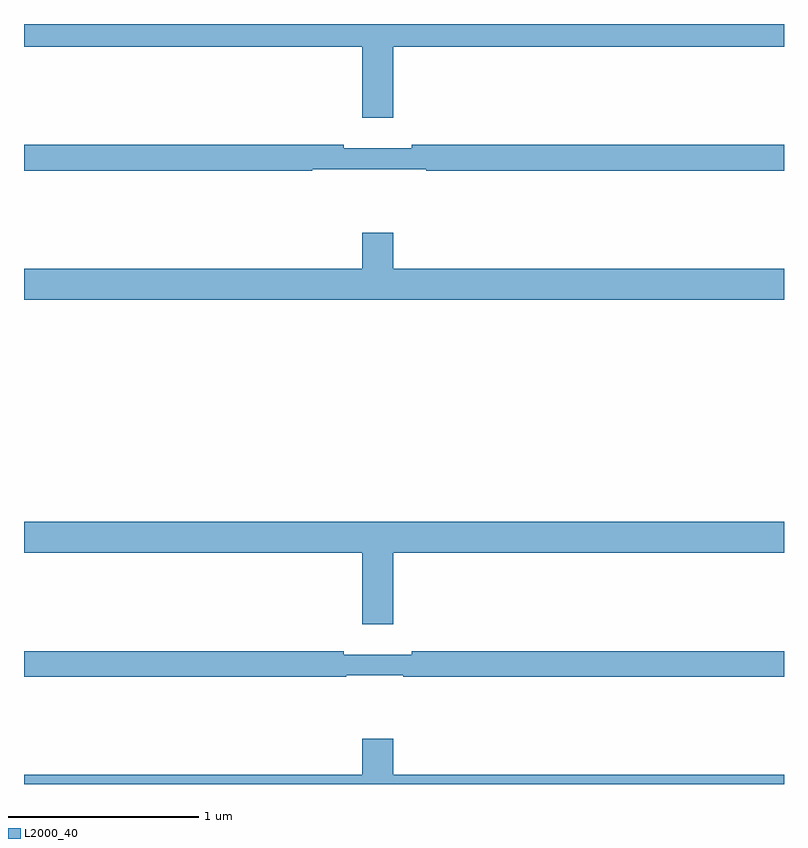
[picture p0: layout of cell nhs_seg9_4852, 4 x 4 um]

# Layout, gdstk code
import gdstk
lib = gdstk.Library(unit=1e-6, precision=1e-09)
def P(c, l, *ps):  # polygons
    for p in ps: c.add(gdstk.Polygon(p, *l))
L2000_40 = (2000, 40)

nhs_seg9_4852 = lib.new_cell('nhs_seg9_4852')
P(nhs_seg9_4852, L2000_40, [(392.944,1236.38),(395,1236.38),(395,1236.5),(391,1236.5),(391,1236.38),(392.78,1236.38),(392.78,1236.006),(392.944,1236.006)],
  [(392.518,1235.736),(393.118,1235.736),(393.118,1235.728),(395,1235.728),(395,1235.864),(393.04,1235.864),(393.04,1235.845),(392.684,1235.845),(392.684,1235.864),(391,1235.864),(391,1235.728),(392.518,1235.728)],
  [(395,1235.212),(392.944,1235.212),(392.944,1235.401),(392.78,1235.401),(392.78,1235.212),(391,1235.212),(391,1235.048),(395,1235.048)],
  [(392.944,1233.716),(395,1233.716),(395,1233.88),(391,1233.88),(391,1233.716),(392.78,1233.716),(392.78,1233.342),(392.944,1233.342)],
  [(392.696,1233.072),(392.996,1233.072),(392.996,1233.064),(395,1233.064),(395,1233.2),(393.04,1233.2),(393.04,1233.181),(392.684,1233.181),(392.684,1233.2),(391,1233.2),(391,1233.064),(392.696,1233.064)],
  [(395,1232.548),(392.944,1232.548),(392.944,1232.737),(392.78,1232.737),(392.78,1232.548),(391,1232.548),(391,1232.5),(395,1232.5)])

lib.write_gds('nhs_seg9_4852.gds')
